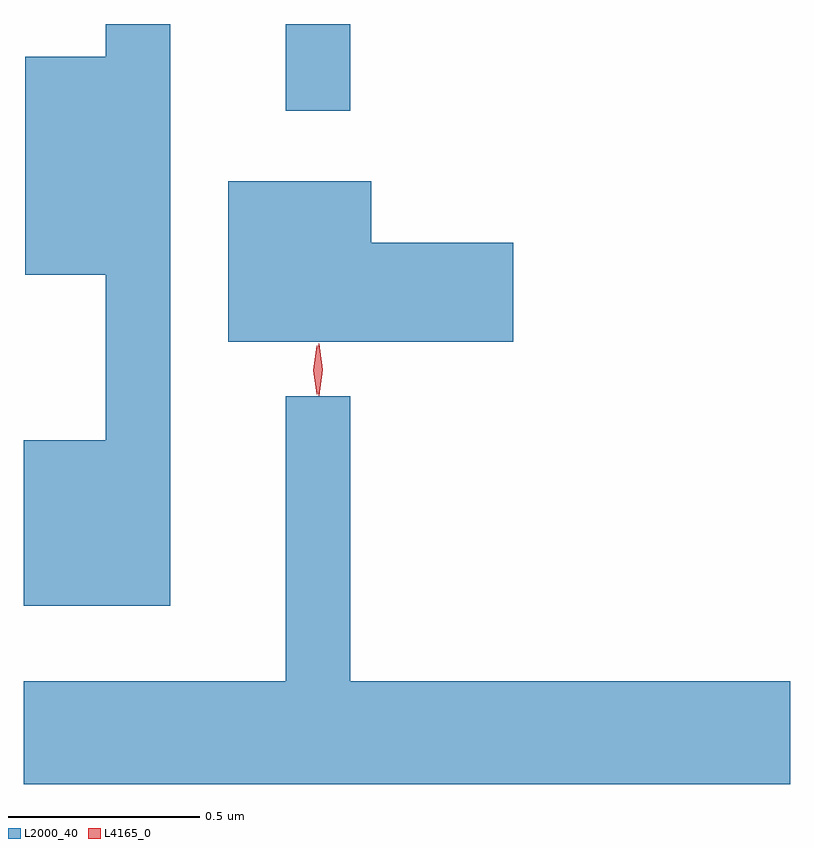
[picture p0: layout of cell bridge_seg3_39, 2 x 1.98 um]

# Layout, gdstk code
import gdstk
lib = gdstk.Library(unit=1e-6, precision=1e-09)
def R(c, l, rs):  # rectangles x0, y0, x1, y1
    for r in rs: c.add(gdstk.rectangle(r[:2], r[2:], *l))
def P(c, l, *ps):  # polygons
    for p in ps: c.add(gdstk.Polygon(p, *l))
L2000_40 = (2000, 40)
L4165_0 = (4165, 0)

bridge_seg3_39 = lib.new_cell('bridge_seg3_39')
R(bridge_seg3_39, L2000_40, [(1159.881,1134.433,1160.049,1134.66)])
P(bridge_seg3_39, L2000_40, [(1159.579,1134.66),(1159.411,1134.66),(1159.411,1134.574),(1159.201,1134.574),(1159.201,1134.006),(1159.411,1134.006),(1159.411,1133.574),(1159.197,1133.574),(1159.197,1133.141),(1159.579,1133.141)],
  [(1160.474,1134.089),(1160.104,1134.089),(1160.104,1134.249),(1159.731,1134.249),(1159.731,1133.831),(1160.474,1133.831)],
  [(1161.197,1132.944),(1160.049,1132.944),(1160.049,1133.688),(1159.881,1133.688),(1159.881,1132.944),(1159.197,1132.944),(1159.197,1132.676),(1161.197,1132.676)])
P(bridge_seg3_39, L4165_0, [(1159.967,1133.69),(1159.958,1133.758),(1159.967,1133.825),(1159.967,1133.826),(1159.968,1133.825),(1159.977,1133.758),(1159.968,1133.69),(1159.968,1133.69)],
  [(1159.963,1133.693),(1159.962,1133.694),(1159.952,1133.756),(1159.962,1133.82),(1159.962,1133.82),(1159.963,1133.82),(1159.972,1133.756),(1159.963,1133.694)])

lib.write_gds('bridge_seg3_39.gds')
